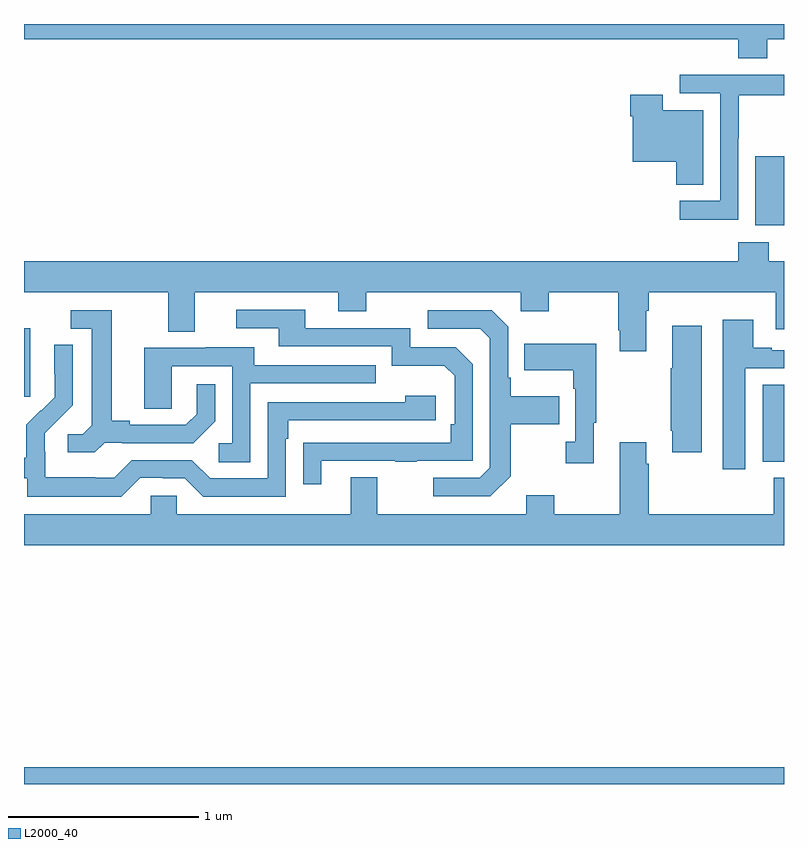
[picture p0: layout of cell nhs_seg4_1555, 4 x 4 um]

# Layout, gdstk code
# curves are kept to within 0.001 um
import gdstk
lib = gdstk.Library(unit=1e-6, precision=1e-09)
def R(c, l, rs):  # rectangles x0, y0, x1, y1
    for r in rs: c.add(gdstk.rectangle(r[:2], r[2:], *l))
def P(c, l, *ps):  # polygons
    for p in ps: c.add(gdstk.Polygon(p, *l))
L2000_40 = (2000, 40)

nhs_seg4_1555 = lib.new_cell('nhs_seg4_1555')
R(nhs_seg4_1555, L2000_40, [(191,792.9,195,792.988), (194.888,794.597,195,795.002), (191,794.937,191.032,795.298), (194.849,795.842,195,796.203)])
P(nhs_seg4_1555, L2000_40, [(194.911,796.82),(195,796.82),(195,796.9),(191,796.9),(191,796.82),(194.759,796.82),(194.759,796.721),(194.911,796.721)],
  [(194.76,796.3),(194.763,796.3),(194.763,796.524),(195,796.524),(195,796.632),(194.451,796.632),(194.451,796.536),(194.664,796.536),(194.664,795.969),(194.451,795.969),(194.451,795.871),(194.76,795.871)],
  [(194.575,796.447),(194.362,796.447),(194.362,796.528),(194.192,796.528),(194.192,796.415),(194.204,796.415),(194.204,796.175),(194.432,796.175),(194.432,796.054),(194.575,796.054)],
  [(194.275,795.392),(194.288,795.392),(194.288,795.488),(194.957,795.488),(194.957,795.294),(195,795.294),(195,795.652),(194.919,795.652),(194.919,795.751),(194.759,795.751),(194.759,795.652),(191,795.652),(191,795.488),(191.759,795.488),(191.759,795.28),(191.899,795.28),(191.899,795.488),(192.653,795.488),(192.653,795.389),(192.801,795.389),(192.801,795.488),(193.614,795.488),(193.614,795.389),(193.761,795.389),(193.761,795.488),(194.128,795.488),(194.128,795.289),(194.135,795.289),(194.135,795.177),(194.275,795.177)],
  [(192.565,794.601),(192.955,794.601),(192.955,794.596),(193.067,794.596),(193.067,794.601),(193.362,794.601),(193.362,795.108),(193.272,795.198),(193.032,795.198),(193.032,795.3),(192.481,795.3),(192.481,795.396),(192.117,795.396),(192.117,795.3),(192.341,795.3),(192.341,795.204),(192.936,795.204),(192.936,795.101),(193.213,795.101),(193.266,795.048),(193.266,794.794),(193.246,794.794),(193.246,794.697),(192.469,794.696),(192.469,794.478),(192.565,794.478)],
  [(193.561,794.521),(193.561,794.794),(193.817,794.794),(193.817,794.941),(193.561,794.941),(193.561,795.037),(193.548,795.037),(193.548,795.306),(193.461,795.393),(193.125,795.393),(193.125,795.297),(193.401,795.297),(193.452,795.246),(193.452,794.565),(193.398,794.511),(193.155,794.511),(193.155,794.415),(193.455,794.415)],
  [(191.424,794.697),(191.518,794.697),(191.518,794.694),(191.89,794.694),(192.006,794.81),(192.006,795.004),(191.909,795.004),(191.909,794.847),(191.852,794.79),(191.557,794.79),(191.557,794.813),(191.461,794.813),(191.461,795.393),(191.247,795.393),(191.247,795.297),(191.357,795.297),(191.357,794.789),(191.31,794.742),(191.229,794.742),(191.229,794.645),(191.372,794.645)],
  [(194.797,795.087),(195,795.087),(195,795.183),(194.935,795.183),(194.935,795.196),(194.839,795.196),(194.839,795.343),(194.678,795.343),(194.678,794.556),(194.797,794.556)],
  [(194.566,795.313),(194.411,795.313),(194.411,795.089),(194.404,795.089),(194.404,794.758),(194.411,794.758),(194.411,794.646),(194.566,794.646)],
  [(193.999,794.801),(194.011,794.801),(194.011,795.217),(193.633,795.217),(193.633,795.077),(193.89,795.077),(193.89,794.981),(193.902,794.981),(193.902,794.702),(193.851,794.702),(193.851,794.589),(193.999,794.589)],
  [(191.613,794.511),(191.729,794.511),(191.729,794.508),(191.847,794.508),(191.943,794.412),(192.378,794.412),(192.378,794.717),(192.391,794.717),(192.391,794.814),(193.168,794.814),(193.168,794.944),(193.007,794.944),(193.007,794.91),(192.282,794.91),(192.282,794.508),(191.979,794.508),(191.883,794.604),(191.568,794.604),(191.475,794.511),(191.375,794.511),(191.375,794.515),(191.112,794.515),(191.112,794.649),(191.11,794.649),(191.11,794.746),(191.256,794.894),(191.256,795.212),(191.16,795.212),(191.16,795.058),(191.162,795.058),(191.162,794.936),(191.091,794.865),(191.088,794.868),(191.011,794.791),(191.011,794.617),(191,794.617),(191,794.508),(191.016,794.508),(191.016,794.411),(191.513,794.411)],
  [(192.192,795.009),(192.851,795.009),(192.851,795.105),(192.211,795.105),(192.211,795.199),(191.957,795.199),(191.957,795.195),(191.633,795.195),(191.633,794.875),(191.778,794.875),(191.778,795.099),(192.096,795.099),(192.096,794.694),(192.024,794.694),(192.024,794.593),(192.192,794.593)],
  [(195,794.512),(194.945,794.512),(194.945,794.32),(194.288,794.32),(194.288,794.585),(194.275,794.585),(194.275,794.698),(194.135,794.698),(194.135,794.32),(193.791,794.32),(193.791,794.419),(193.643,794.419),(193.643,794.32),(192.859,794.32),(192.859,794.515),(192.719,794.515),(192.719,794.32),(191.805,794.32),(191.805,794.418),(191.667,794.418),(191.667,794.32),(191,794.32),(191,794.156),(195,794.156)])

lib.write_gds('nhs_seg4_1555.gds')
